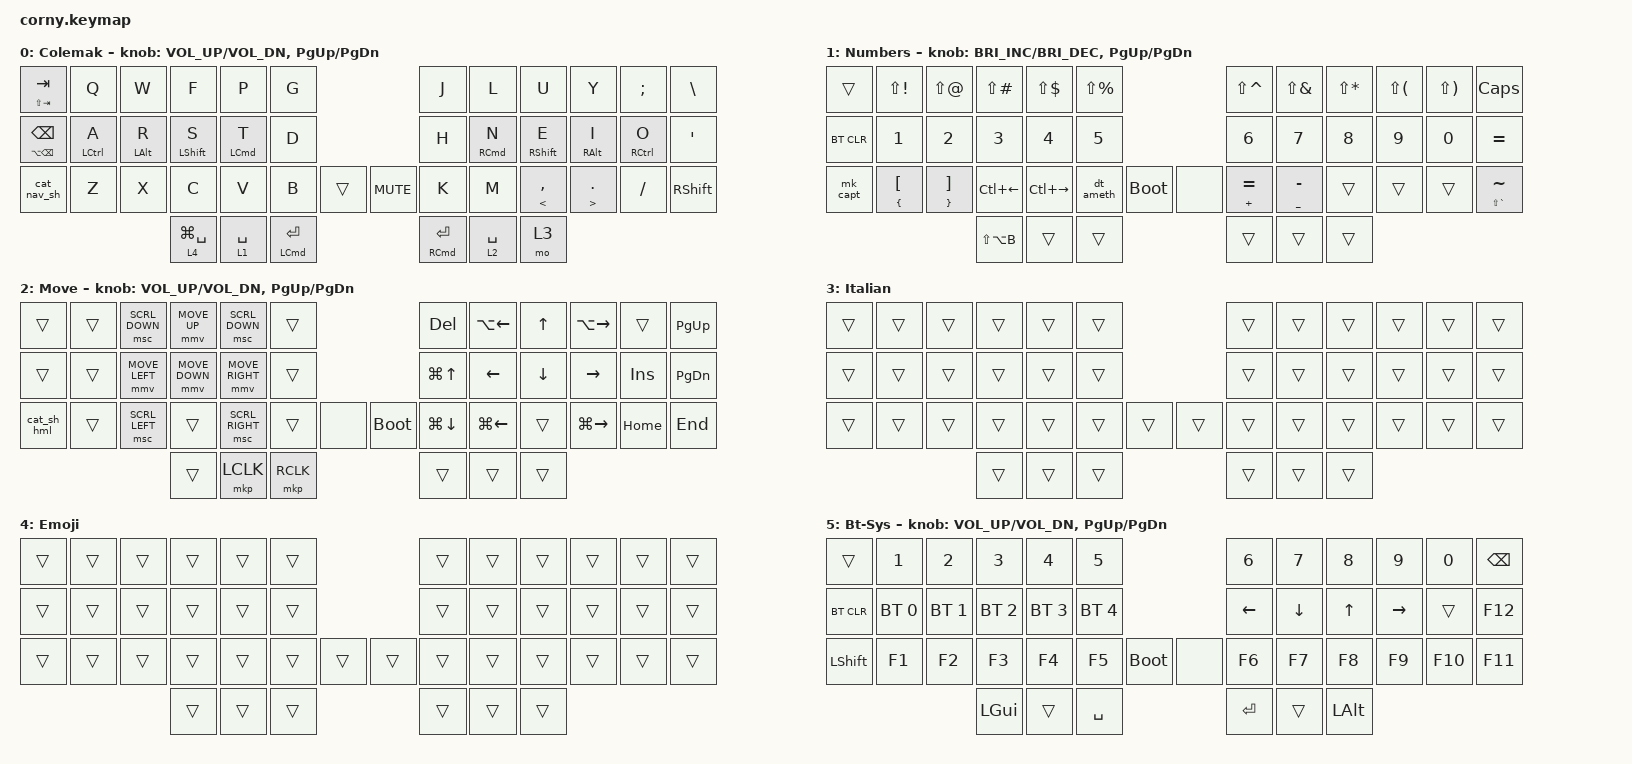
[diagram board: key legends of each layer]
#define ZMK_POINTING_DEFAULT_MOVE_VAL 1000  // default: 600
#define ZMK_POINTING_DEFAULT_SCRL_VAL 20    // default: 10

#include <behaviors.dtsi>
#include <dt-bindings/zmk/bt.h>
#include <dt-bindings/zmk/keys.h>
#include <dt-bindings/zmk/pointing.h>
#include <dt-bindings/zmk/pointing.h>
#include <dt-bindings/zmk/pointing.h>

&mmv {
    acceleration-exponent = <2>;
    time-to-max-speed-ms = <250>;
};

/ {
    behaviors {
        ht_bck: ht_bck {
            compatible = "zmk,behavior-hold-tap";
            label = "HT_BCK";
            bindings = <&kp>, <&kp>;

            #binding-cells = <2>;
            tapping-term-ms = <145>;
            quick-tap-ms = <0>;
            require-prior-idle-ms = <140>;
            flavor = "balanced";
            hold-trigger-key-positions = <12>;
        };

        ht: ht {
            compatible = "zmk,behavior-hold-tap";
            label = "HT";
            bindings = <&kp>, <&kp>;

            #binding-cells = <2>;
            tapping-term-ms = <145>;
            quick-tap-ms = <50>;
            require-prior-idle-ms = <50>;
            flavor = "balanced";
        };

        as: as {
            compatible = "zmk,behavior-hold-tap";
            label = "AS";
            bindings = <&none>, <&none>;

            #binding-cells = <2>;
            tapping-term-ms = <145>;
            quick-tap-ms = <50>;
            require-prior-idle-ms = <50>;
            flavor = "balanced";
        };

        lhmrow: lhmrow {
            compatible = "zmk,behavior-hold-tap";
            label = "LHMROW";
            bindings = <&kp>, <&kp>;

            #binding-cells = <2>;
            tapping-term-ms = <165>;
            quick-tap-ms = <30>;
            require-prior-idle-ms = <100>;
            flavor = "balanced";
            hold-trigger-key-positions = <38 39 40 6 7 8 9 10 11 18 19 20 21 22 23 32 33 34 35 36 37 41 42 43 31>;
        };

        rhmrow: rhmrow {
            compatible = "zmk,behavior-hold-tap";
            label = "RHMROW";
            bindings = <&kp>, <&kp>;

            #binding-cells = <2>;
            tapping-term-ms = <165>;
            quick-tap-ms = <30>;
            require-prior-idle-ms = <100>;
            flavor = "balanced";
            hold-trigger-key-positions = <0 1 2 3 4 5 12 13 14 15 16 17 24 25 26 27 28 29 30 38 39 40 41 42 43>;
        };

        mk_capt: mk_capt {
            compatible = "zmk,behavior-tap-dance";
            label = "MK_CAPT";
            #binding-cells = <0>;
            bindings =
                <&ht LS(LC(LG(N4))) LS(LG(N2))>,
                <&ht LG(LS(N5)) LG(LS(N4))>;

            tapping-term-ms = <165>;
        };

        it_e: it_e {
            compatible = "zmk,behavior-hold-tap";
            label = "IT_E";
            bindings = <&kp>, <&kp>;

            #binding-cells = <2>;
            tapping-term-ms = <145>;
            quick-tap-ms = <50>;
            require-prior-idle-ms = <50>;
            flavor = "balanced";
        };

        dt_ameth: dt_ameth {
            compatible = "zmk,behavior-tap-dance";
            label = "DT_AMETH";
            #binding-cells = <0>;
            bindings = <&kp LA(LS(O))>, <&kp LA(LS(D))>, <&kp LA(LS(J))>;

            tapping-term-ms = <165>;
        };

        cat_nav_sh: cat_nav_sh {
            compatible = "zmk,behavior-tap-dance";
            label = "CAT_NAV_SH";
            #binding-cells = <0>;
            bindings = <&ht LEFT_SHIFT LS(LA(LG(SLASH)))>, <&to 2>;

            tapping-term-ms = <200>;
        };

        cat_sh_hml: cat_sh_hml {
            compatible = "zmk,behavior-tap-dance";
            label = "CAT_SH_HML";
            #binding-cells = <0>;
            tapping-term-ms = <220>;
            bindings = <&ht LEFT_SHIFT LS(LA(LG(SLASH)))>, <&none>;
        };
    };

    combos {
        compatible = "zmk,combos";

        Escape {
            bindings = <&kp ESCAPE>;
            key-positions = <3 2>;
            timeout-ms = <30>;
            require-prior-idle-ms = <50>;
            layers = <0 1 2>;
        };

        Cut {
            bindings = <&kp LG(X)>;
            key-positions = <25 26>;
            timeout-ms = <30>;
            require-prior-idle-ms = <50>;
            layers = <0 1 2>;
        };

        Copy {
            bindings = <&kp LG(C)>;
            key-positions = <26 27>;
            timeout-ms = <30>;
            require-prior-idle-ms = <50>;
            layers = <0 1 2>;
        };

        Paste {
            bindings = <&kp LG(V)>;
            key-positions = <27 28>;
            timeout-ms = <30>;
            require-prior-idle-ms = <50>;
            layers = <0 1 2>;
        };

        Del {
            bindings = <&kp DELETE>;
            key-positions = <3 4>;
            timeout-ms = <30>;
            require-prior-idle-ms = <50>;
            layers = <0 1 2>;
        };

        toLayerZero {
            bindings = <&to 0>;
            key-positions = <24 25>;
            timeout-ms = <30>;
            require-prior-idle-ms = <50>;
            layers = <0 1 2>;
        };
    };

    macros {
        it_egrav: it_egrav {
            compatible = "zmk,behavior-macro";
            #binding-cells = <0>;
            bindings = <&kp LA(LC(LG(I))) &kp LEFT_BRACKET &kp LA(LG(LC(E)))>;
            label = "IT_EGRAV";
            wait-ms = <30>;
        };

        it_shift_egrav: it_shift_egrav {
            compatible = "zmk,behavior-macro";
            #binding-cells = <0>;
            bindings = <&kp LA(LC(LG(I))) &kp LS(LEFT_BRACKET) &kp LA(LG(LC(E)))>;
            label = "IT_SHIFT_EGRAV";
            wait-ms = <30>;
        };

        it_i: it_i {
            compatible = "zmk,behavior-macro";
            #binding-cells = <0>;
            bindings = <&kp LA(LC(LG(I))) &kp EQUAL &kp LA(LG(LC(E)))>;
            label = "IT_I";
            wait-ms = <30>;
        };

        it_o: it_o {
            compatible = "zmk,behavior-macro";
            #binding-cells = <0>;
            bindings = <&kp LA(LC(LG(I))) &kp SEMICOLON &kp LA(LG(LC(E)))>;
            label = "IT_O";
            wait-ms = <30>;
        };

        it_u: it_u {
            compatible = "zmk,behavior-macro";
            #binding-cells = <0>;
            bindings = <&kp LA(LC(LG(I))) &kp BACKSLASH &kp LA(LG(LC(E)))>;
            label = "IT_U";
            wait-ms = <30>;
        };

        it_a: it_a {
            compatible = "zmk,behavior-macro";
            #binding-cells = <0>;
            bindings = <&kp LA(LC(LG(I))) &kp SQT &kp LA(LG(LC(E)))>;
            label = "IT_A";
            wait-ms = <30>;
        };

        efp: efp {
            compatible = "zmk,behavior-macro";
            #binding-cells = <0>;
            bindings = <&kp UNDER &kp F &kp P>;
            label = "EFP";
            wait-ms = <20>;
        };

        laugh: laugh {
            compatible = "zmk,behavior-macro";
            #binding-cells = <0>;
            bindings = <&kp UNDER &kp L &kp A>;
            label = "LAUGH";
            wait-ms = <20>;
        };

        eok: eok {
            compatible = "zmk,behavior-macro";
            #binding-cells = <0>;
            bindings = <&kp UNDER &kp O &kp K>;
            label = "EOK";
            wait-ms = <20>;
        };

        ethank: ethank {
            compatible = "zmk,behavior-macro";
            #binding-cells = <0>;
            bindings = <&kp UNDER &kp T &kp H>;
            label = "ETHANK";
            wait-ms = <20>;
        };

        esmile: esmile {
            compatible = "zmk,behavior-macro";
            #binding-cells = <0>;
            bindings = <&kp UNDER &kp S &kp M>;
            label = "ESMILE";
            wait-ms = <20>;
        };

        esad: esad {
            compatible = "zmk,behavior-macro";
            #binding-cells = <0>;
            bindings = <&kp UNDER &kp S &kp A &kp D>;
            label = "ESAD";
            wait-ms = <20>;
        };

        elove: elove {
            compatible = "zmk,behavior-macro";
            #binding-cells = <0>;
            bindings = <&kp UNDER &kp L &kp V>;
            label = "ELOVE";
            wait-ms = <20>;
        };

        ehmmm: ehmmm {
            compatible = "zmk,behavior-macro";
            #binding-cells = <0>;
            bindings = <&kp UNDER &kp H &kp M>;
            label = "EHMMM";
            wait-ms = <20>;
        };

        ecoffe: ecoffe {
            compatible = "zmk,behavior-macro";
            #binding-cells = <0>;
            bindings = <&kp UNDER &kp C &kp F>;
            label = "ECOFFE";
            wait-ms = <20>;
        };

        doublecmd: doublecmd {
            compatible = "zmk,behavior-macro";
            #binding-cells = <0>;
            bindings = <&kp LCMD &kp LCMD>;
            label = "DOUBLECMD";
            wait-ms = <20>;
        };

        doublectrl: doublectrl {
            compatible = "zmk,behavior-macro";
            #binding-cells = <0>;
            bindings = <&kp LCTRL &kp LCTRL>;
            label = "DOUBLECTRL";
            wait-ms = <20>;
        };
    };

    keymap {
        compatible = "zmk,keymap";

        Colemak {
            bindings = <
&ht LS(TAB) TAB             &kp Q            &kp W           &kp F                 &kp P           &kp G                               &kp J           &kp L           &kp U                  &kp Y                    &kp SEMI         &kp BSLH
&ht_bck LA(BSPC) BACKSPACE  &lhmrow LCTRL A  &lhmrow LALT R  &lhmrow LEFT_SHIFT S  &lhmrow LCMD T  &kp D                               &kp H           &rhmrow RCMD N  &rhmrow RIGHT_SHIFT E  &rhmrow RIGHT_ALT I      &rhmrow RCTRL O  &kp SQT
&cat_nav_sh                 &kp Z            &kp X           &kp C                 &kp V           &kp B           &trans  &kp C_MUTE  &kp K           &kp M           &ht LESS_THAN COMMA    &ht GREATER_THAN PERIOD  &kp FSLH         &kp RSHFT
                                                             &lt 4 LG(SPACE)       &lt 1 SPACE     &ht LCMD ENTER                      &ht RCMD ENTER  &lt 2 SPACE     &mo 3
            >;

            sensor-bindings = <&inc_dec_kp C_VOL_UP C_VOL_DN &inc_dec_kp PG_UP PG_DN>;
            label = "Colemak";
        };

        Numbers {
            bindings = <
&trans      &kp LS(EXCL)                 &kp LS(AT)                     &kp LS(POUND)  &kp LS(DLLR)   &kp LS(PRCNT)                      &kp LS(CARET)   &kp LS(AMPS)          &kp LS(STAR)  &kp LS(LPAR)  &kp LS(RPAR)  &kp CAPSLOCK
&bt BT_CLR  &kp N1                       &kp N2                         &kp N3         &kp N4         &kp N5                             &kp N6          &kp N7                &kp N8        &kp N9        &kp N0        &kp EQUAL
&mk_capt    &ht LEFT_BRACE LEFT_BRACKET  &ht RIGHT_BRACE RIGHT_BRACKET  &kp LC(LEFT)   &kp LC(RIGHT)  &dt_ameth      &bootloader  &none  &ht PLUS EQUAL  &ht UNDERSCORE MINUS  &trans        &trans        &trans        &ht LS(GRAVE) TILDE
                                                                        &kp LS(LA(B))  &trans         &trans                             &trans          &trans                &trans
            >;

            sensor-bindings =
                <&inc_dec_kp C_BRIGHTNESS_INC C_BRIGHTNESS_DEC>,
                <&inc_dec_kp PG_UP PG_DN>;

            label = "Numbers";
        };

        Move {
            bindings = <
&trans       &trans  &msc SCRL_DOWN  &mmv MOVE_UP    &msc SCRL_DOWN   &trans                         &kp DEL       &kp LA(LEFT)  &kp UP    &kp LA(RIGHT)  &trans    &kp PAGE_UP
&trans       &trans  &mmv MOVE_LEFT  &mmv MOVE_DOWN  &mmv MOVE_RIGHT  &trans                         &kp LG(UP)    &kp LEFT      &kp DOWN  &kp RIGHT      &kp INS   &kp PAGE_DOWN
&cat_sh_hml  &trans  &msc SCRL_LEFT  &trans          &msc SCRL_RIGHT  &trans     &none  &bootloader  &kp LG(DOWN)  &kp LG(LEFT)  &trans    &kp LG(RIGHT)  &kp HOME  &kp END
                                     &trans          &mkp LCLK        &mkp RCLK                      &trans        &trans        &trans
            >;

            sensor-bindings = <&inc_dec_kp C_VOL_UP C_VOL_DN &inc_dec_kp PG_UP PG_DN>;
            label = "Move";
        };

        Italian {
            bindings = <
&trans  &trans  &trans  &trans  &trans  &trans                  &trans  &trans  &trans  &trans  &trans  &trans
&trans  &trans  &trans  &trans  &trans  &trans                  &trans  &trans  &trans  &trans  &trans  &trans
&trans  &trans  &trans  &trans  &trans  &trans  &trans  &trans  &trans  &trans  &trans  &trans  &trans  &trans
                        &trans  &trans  &trans                  &trans  &trans  &trans
            >;

            label = "Italian";
        };

        Emoji {
            bindings = <
&trans  &trans  &trans  &trans  &trans  &trans                  &trans  &trans  &trans  &trans  &trans  &trans
&trans  &trans  &trans  &trans  &trans  &trans                  &trans  &trans  &trans  &trans  &trans  &trans
&trans  &trans  &trans  &trans  &trans  &trans  &trans  &trans  &trans  &trans  &trans  &trans  &trans  &trans
                        &trans  &trans  &trans                  &trans  &trans  &trans
            >;

            label = "Emoji";
        };

        Bt_Sys {
            label = "Bt-Sys";
            bindings = <
&trans      &kp N1        &kp N2        &kp N3        &kp N4        &kp N5                            &kp N6    &kp N7    &kp N8    &kp N9     &kp N0   &kp BSPC
&bt BT_CLR  &bt BT_SEL 0  &bt BT_SEL 1  &bt BT_SEL 2  &bt BT_SEL 3  &bt BT_SEL 4                      &kp LEFT  &kp DOWN  &kp UP    &kp RIGHT  &trans   &kp F12
&kp LSHFT   &kp F1        &kp F2        &kp F3        &kp F4        &kp F5        &bootloader  &none  &kp F6    &kp F7    &kp F8    &kp F9     &kp F10  &kp F11
                                        &kp LGUI      &trans        &kp SPACE                         &kp RET   &trans    &kp LALT
            >;

            sensor-bindings =
                <&inc_dec_kp C_VOL_UP C_VOL_DN>,
                <&inc_dec_kp PG_UP PG_DN>;
        };
    };

    conditional_layers {
        compatible = "zmk,conditional-layers";

        Bt-Sys {
            if-layers = <3 4>;
            then-layer = <5>;
        };
    };
};
